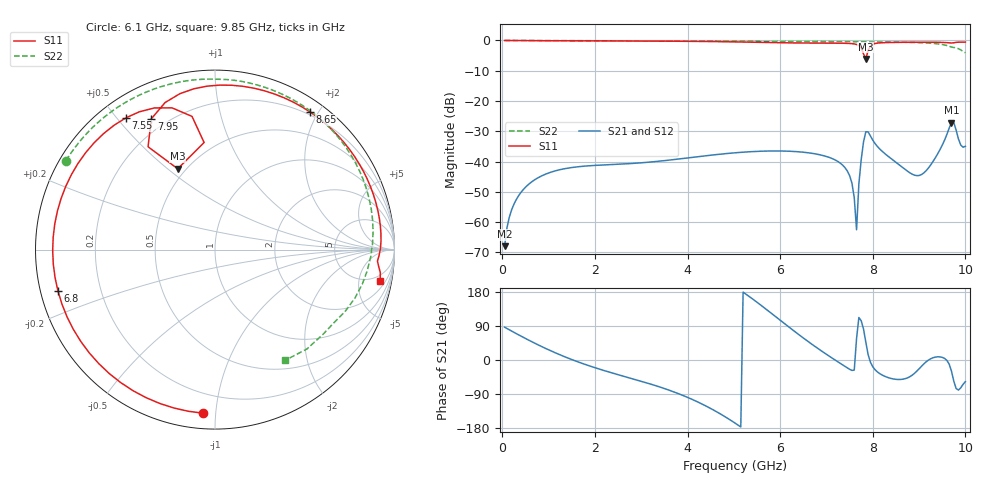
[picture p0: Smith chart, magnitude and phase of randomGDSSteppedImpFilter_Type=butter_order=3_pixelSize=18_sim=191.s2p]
! freq	dB(S11)	phase(S11)	dB(S12)	phase(S12)
!  dB(S21)	phase(S21)	dB(S22)	phase(S22)
!S-par simulation data
#  GHz  S  DB  R 50
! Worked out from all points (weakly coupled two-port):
!   200 points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, 50 MHz to 10 GHz, reference 50 ohm
!   highest |S21| = -27.13 dB at 9.7 GHz (marker M1); lowest = -68.0 dB at 50 MHz (marker M2)
!   lowest |S11| = -6.1 dB at 7.85 GHz (marker M3), VSWR 2.97, Z = 22.7 + j27.1 ohm
!   |S11| at or under -10 dB: nowhere
!   |S22| runs from -4.1 to 0.0 dB; largest |S21 - S12| = 0
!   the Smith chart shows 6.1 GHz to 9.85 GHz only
!   S11 on the Smith chart (normalised r, x): 6.1 GHz: 0.08, -0.93; 6.8 GHz: 0.05, -0.13; 7.55 GHz: 0.08, +0.53; 7.95 GHz: 0.14, +0.62; 8.65 GHz: 0.16, +1.89; 9.85 GHz: 3, -9
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0.05  -0.00 -4.7  -67.97 86.6  -67.97 86.6  -0.00 -2.2
0.5  -0.06 -45.2  -48.51 56.8  -48.51 56.8  -0.03 -21.3
1.05  -0.10 -89.9  -43.52 24.1  -43.52 24.1  -0.06 -44.0
1.75  -0.14 -137.6  -41.56 -10.0  -41.56 -10.0  -0.09 -71.5
2.55  -0.17 175.9  -40.86 -40.5  -40.86 -40.5  -0.12 -100.3
3.4  -0.22 128.3  -39.87 -71.2  -39.87 -71.2  -0.15 -128.4
4.25  -0.31 74.6  -38.36 -112.5  -38.36 -112.5  -0.18 -154.6
5.05  -0.48 11.0  -37.08 -168.4  -37.08 -168.4  -0.23 -178.6
6.1  -0.78 -94.1  -36.55 95.5  -36.55 95.5  -0.29 149.2
6.7  -0.86 -155.5  -37.32 40.3  -37.32 40.3  -0.34 129.7
6.8  -0.87 -165.3  -37.59 31.7  -37.59 31.7  -0.35 126.3
7.55  -1.05 124.1  -47.12 -27.5  -47.12 -27.5  -0.41 99.3
7.65  -1.32 113.2  -62.56 57.1  -62.56 57.1  -0.43 95.4
7.7  -1.67 106.8  -47.37 112.1  -47.37 112.1  -0.43 93.5
7.85  -6.09 114.8  -30.16 46.9  -30.16 46.9  -0.45 87.6
7.95  -1.82 115.9  -31.59 -6.0  -31.59 -6.0  -0.45 83.5
8.35  -0.68 76.4  -38.50 -47.1  -38.50 -47.1  -0.51 66.0
8.65  -0.61 55.5  -42.04 -50.6  -42.04 -50.6  -0.58 51.4
9.1  -0.59 27.7  -43.81 -10.6  -43.81 -10.6  -0.79 25.3
9.7  -0.84 -4.0  -27.13 -29.5  -27.13 -29.5  -2.18 -31.6
9.85  -0.57 -10.8  -32.55 -79.3  -32.55 -79.3  -2.73 -57.7
10  -0.56 -18.7  -34.97 -57.0  -34.97 -57.0  -4.07 -97.7
